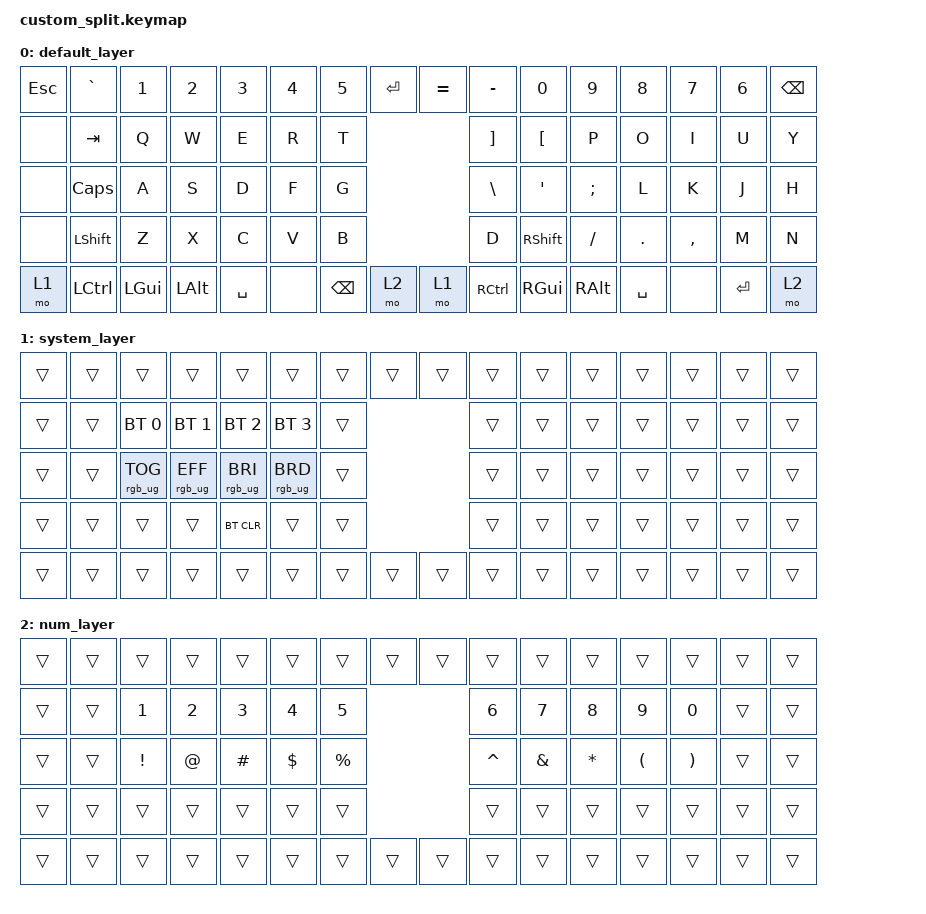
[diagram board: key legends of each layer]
#include <behaviors.dtsi>
#include <dt-bindings/zmk/keys.h>
#include <dt-bindings/zmk/bt.h>
#include <dt-bindings/zmk/rgb.h>

/ {
    keymap {
        compatible = "zmk,keymap";

        // Layer 0: bindings are positional — they match the matrix transform
        // 1:1, left-to-right, top-to-bottom (8,7,7,7,8 keys per half per row).
        default_layer {
    // | ESC  | GRAVE |  1  |  2  |  3  |   4  |   5  |  ENT |  | BSPC | 6 | 7 | 8 | 9 | 0 | MINUS | EQUAL |
    // | none |   TAB |  Q  |  W  |  E  |   R  |   T  |                | 6 | 7 | 8 | 9 | 0 | MINUS | EQUAL |
    // | none |  CAPS |  A  |  S  |  D  |   F  |   G  |                | 6 | 7 | 8 | 9 | 0 | MINUS | EQUAL |
    // | none | SHIFT |  Z  |  X  |  C  |   V  |   B  |                | 6 | 7 | 8 | 9 | 0 | MINUS | EQUAL |
    // | MO 1 | LCTRL | LWR | ALT | SPC | none | BSPC | MO 2 |  | BSPC | 6 | 7 | 8 | 9 | 0 | MINUS | EQUAL |       
            bindings = <
                &kp ESC &kp GRAVE &kp N1   &kp N2   &kp N3    &kp N4 &kp N5   &kp RET  &kp EQUAL &kp MINUS &kp N0    &kp N9   &kp N8    &kp N7    &kp N6  &kp BSPC
                &none   &kp TAB   &kp Q    &kp W    &kp E     &kp R  &kp T                       &kp RBKT  &kp LBKT  &kp P    &kp O     &kp I     &kp U   &kp Y
                &none   &kp CAPS  &kp A    &kp S    &kp D     &kp F  &kp G                       &kp BSLH  &kp SQT   &kp SEMI &kp L     &kp K     &kp J   &kp H
                &none   &kp LSHFT &kp Z    &kp X    &kp C     &kp V  &kp B                       &kp D     &kp RSHFT &kp FSLH &kp DOT   &kp COMMA &kp M   &kp N
                &mo 1   &kp LCTRL &kp LGUI &kp LALT &kp SPACE &none  &kp BSPC &mo 2    &mo 1     &kp RCTRL &kp RGUI  &kp RALT &kp SPACE &none     &kp RET &mo 2
            >;
        };

        // Layer 1: Hardware Management & Wireless Selection
        system_layer {
            bindings = <
                &trans &trans &trans &trans &trans &trans &trans &trans      &trans &trans &trans &trans &trans &trans &trans &trans
                &trans &trans &bt BT_SEL 0 &bt BT_SEL 1 &bt BT_SEL 2 &bt BT_SEL 3 &trans      &trans &trans &trans &trans &trans &trans &trans
                &trans &trans &rgb_ug RGB_TOG &rgb_ug RGB_EFF &rgb_ug RGB_BRI &rgb_ug RGB_BRD &trans      &trans &trans &trans &trans &trans &trans &trans
                &trans &trans &trans &trans &bt BT_CLR &trans &trans      &trans &trans &trans &trans &trans &trans &trans
                &trans &trans &trans &trans &trans &trans &trans &trans      &trans &trans &trans &trans &trans &trans &trans &trans
            >;
        };

        // Layer 2: example Numbers/Symbols layer — bind a key to &mo 2 (or &lt 2 <KEYCODE>) on another layer to reach it.
        num_layer {
            bindings = <
                &trans &trans &trans &trans &trans &trans &trans      &trans &trans &trans &trans &trans  &trans &trans &trans &trans
                &trans &trans &kp N1 &kp N2 &kp N3 &kp N4 &kp N5      &kp N6 &kp N7 &kp N8 &kp N9  &kp N0 &trans &trans
                &trans &trans &kp EXCL &kp AT &kp HASH &kp DLLR &kp PRCNT      &kp CARET &kp AMPS &kp STAR &kp LPAR &kp RPAR &trans &trans
                &trans &trans &trans &trans &trans &trans &trans      &trans &trans &trans &trans  &trans &trans &trans
                &trans &trans &trans &trans &trans &trans &trans &trans      &trans &trans &trans &trans &trans &trans &trans &trans
            >;
        };
    };
};
